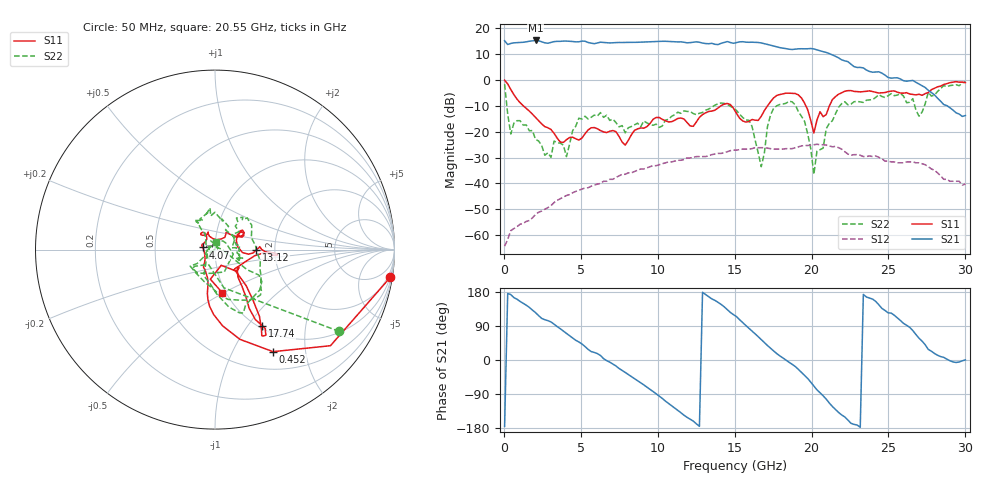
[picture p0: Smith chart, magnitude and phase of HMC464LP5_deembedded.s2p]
!Hittite Microwave Corporation
!20 Alpha Road
!Chelmsford, MA 01824
!Tel: 978-250-3343
!Fax: 978-250-3373
!Device: HMC464LP5, 2-20 GHz, GaAs PHEMT MMIC Power Amplifier in 5x5 mm SMT package
!Misc: Vdd = 8V, Vgg2 = 3V, Idd = 290 mA, Room
# MHZ S MA R 50
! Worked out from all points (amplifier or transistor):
!   150 points, 50 MHz to 30 GHz, reference 50 ohm
!   highest |S21| = 15.3 dB at 2.06 GHz (marker M1)
!   |S21| within 3 dB of that: start of sweep to 18.16 GHz
!   unconditionally stable (mu >= 1): 57.39 MHz to end of sweep
!   at 5.075 GHz: K = 11.02, MAG = 15.2 dB, |S12| = -42.2 dB
!   at 15.13 GHz: K = 1.97, MAG = 15.1 dB, |S12| = -27.1 dB
!   at 30 GHz: K = 8.14, MAG = 1.1 dB, |S12| = -40.2 dB
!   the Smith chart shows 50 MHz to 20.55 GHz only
!   S11 on the Smith chart (normalised r, x): 50 MHz: 1, -13; 452 MHz: 0.73, -1.46; 4.07 GHz: 0.87, +0.02; 13.12 GHz: 1.60, -0.00; 17.74 GHz: 1.04, -1.18; 20.55 GHz: 0.96, -0.49
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50  0.989 -9.0  5.706 -175.0  0.0006122 108.3  0.829 -33.4
452.013  0.654 -60.4  5.07 172.6  0.001224 60.9  0.09 -114.0
2060.067  0.188 -102.0  5.792 125.0  0.002509 57.9  0.071 29.9
4070.134  0.07 170.0  5.636 70.2  0.005825 43.6  0.033 173.0
5075.168  0.075 127.1  5.621 42.3  0.007803 28.9  0.175 121.9
7487.248  0.081 112.7  5.297 -22.3  0.014 -10.0  0.124 61.8
9095.302  0.117 49.6  5.426 -65.6  0.019 -42.5  0.161 -17.2
10100.34  0.188 35.2  5.586 -95.3  0.023 -65.1  0.121 11.8
11708.39  0.175 34.4  5.352 -145.7  0.029 -104.4  0.252 44.4
13115.44  0.231 -0.3  5.047 172.9  0.033 -140.3  0.26 -13.8
14321.48  0.341 -5.4  5.291 140.4  0.039 -169.8  0.352 -50.3
15125.5  0.225 -8.6  5.266 114.4  0.044 166.6  0.256 -83.8
16331.54  0.167 -36.8  5.336 69.0  0.049 131.3  0.069 -148.1
17738.59  0.5 -58.1  4.37 17.0  0.046 85.7  0.316 -34.3
19145.64  0.513 -59.7  3.996 -24.8  0.051 48.2  0.244 -88.4
20150.67  0.094 -68.3  3.968 -68.8  0.056 7.2  0.015 17.7
20552.69  0.243 -80.5  3.641 -86.4  0.056 -8.6  0.045 84.7
21758.72  0.53 -123.4  2.671 -138.4  0.049 -57.6  0.297 -90.9
23567.78  0.603 -128.0  1.551 166.2  0.033 -104.2  0.406 -132.9
25175.84  0.608 -139.6  1.081 123.8  0.026 -147.8  0.545 -143.8
27386.91  0.543 155.9  0.714 40.2  0.023 138.0  0.345 136.8
30000  0.887 177.0  0.205 0.2  0.009737 127.1  0.927 170.4
